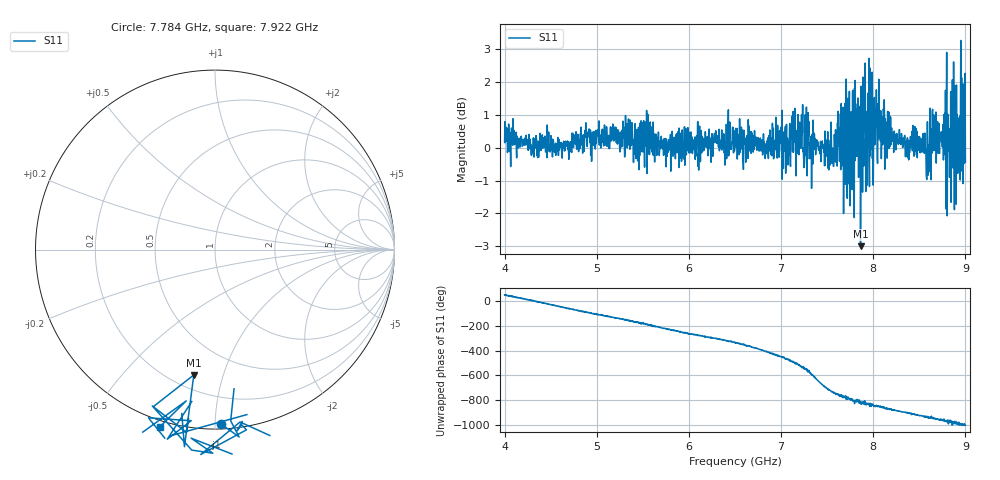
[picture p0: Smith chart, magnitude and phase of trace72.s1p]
! Created with skrf 1.8.0 (http://scikit-rf.org).
# Hz S RI R 50.0
!freq ReS11 ImS11
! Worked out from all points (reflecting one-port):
!   1601 points, 4 GHz to 9 GHz, reference 50 ohm
!   lowest |S11| = -3.0 dB at 7.862 GHz (marker M1), VSWR 5.86, Z = 14.3 - j40.2 ohm
!   phase of S11 starts at 51 deg and turns -1054 deg over the sweep
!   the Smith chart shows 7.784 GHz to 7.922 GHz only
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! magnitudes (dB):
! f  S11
! 4 GHz  0.2
! 4.625 GHz  -0.3
! 4.894 GHz  0.2
! 5.25 GHz  -0.1
! 5.875 GHz  -0.1
! 6.5 GHz  0.1
! 7.075 GHz  -0.5
! 7.125 GHz  -0.1
! 7.209 GHz  0.6
! 7.262 GHz  0.5
! 7.284 GHz  0.4
! 7.534 GHz  0.0
! 7.75 GHz  -1.8
! 7.769 GHz  -0.6
! 7.822 GHz  -0.3
! 7.862 GHz  -3.0
! 7.928 GHz  0.5
! 8.009 GHz  1.4
! 8.375 GHz  -0.1
! 8.441 GHz  -0.2
! 8.588 GHz  0.8
! 8.656 GHz  1.0
! 8.775 GHz  1.1
! 8.812 GHz  0.6
! 8.872 GHz  2.6
! 8.919 GHz  -0.5
! 8.972 GHz  0.3
! 9 GHz  -0.4
